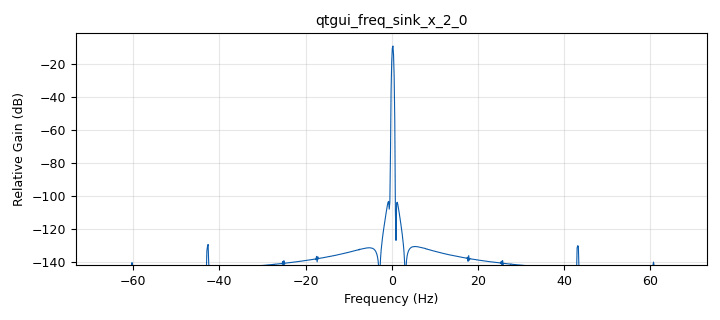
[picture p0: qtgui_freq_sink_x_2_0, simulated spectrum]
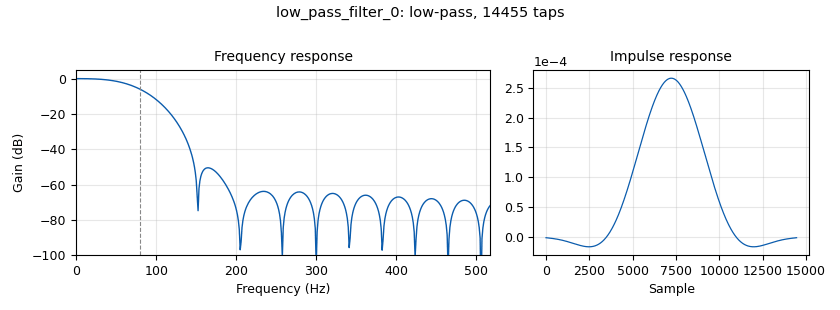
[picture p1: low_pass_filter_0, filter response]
options:
  parameters:
    category: Custom
    generate_options: qt_gui
    id: cw_radar_pluto_var
    output_language: python
  states: {}

blocks:
- name: addr
  id: variable
  parameters:
    value: '"192.168.3.1"'
  states: {}
- name: dec
  id: variable
  parameters:
    value: 1024*4
  states: {}
- name: fan_vel
  id: variable_qtgui_chooser
  parameters:
    label: velocity of fan
    label0: Vel 1
    label1: Vel 2
    label2: Vel 3
    num_opts: '3'
    option0: '1'
    option1: '2'
    option2: '3'
    type: int
    value: '3'
  states: {state: disabled}
- name: fan_vel
  id: variable
  parameters:
    value: '1'
  states: {}
- name: filename_lpf_n
  id: variable
  parameters:
    value: str(my_path)+"rx-freq-"+str(int(freq_op/1000000))+"-velocity-"+str(fan_vel)+"-bw-"+str(int(samp_rate/1000))+"-lpf-n"
  states: {}
- name: filename_lpf_y
  id: variable
  parameters:
    value: str(my_path)+"rx-freq-"+str(int(freq_op/1000000))+"-velocity-"+str(fan_vel)+"-bw-"+str(int(samp_rate/1000))+"-lpf-y"
  states: {}
- name: filename_tx
  id: variable
  parameters:
    value: str(my_path)+"tx-freq-"+str(int(freq_op/1000000))+"-velocity-"+str(fan_vel)+"-bw-"+str(int(samp_rate/1000))
  states: {}
- name: freq_op
  id: variable
  parameters:
    value: '1600000000'
  states: {}
- name: lpf_yn
  id: variable_qtgui_chooser
  parameters:
    label: low pass filter y/n
    label0: 'yes'
    label1: 'no'
    num_opts: '2'
    option0: y
    option1: n
    type: string
    value: y
  states: {state: disabled}
- name: my_path
  id: variable
  parameters:
    value: '"/home/rhlab/Downloads/files/"'
  states: {}
- name: samp_rate
  id: variable
  parameters:
    value: '600000'
  states: {}
- name: analog_agc_xx_0
  id: analog_agc_xx
  parameters:
    gain: '1.0'
    max_gain: '65536'
    rate: '1e-4'
    reference: '1.0'
    type: complex
  states: {}
- name: analog_agc_xx_0_0
  id: analog_agc_xx
  parameters:
    gain: '1.0'
    max_gain: '65536'
    rate: '1e-4'
    reference: '1.0'
    type: complex
  states: {}
- name: analog_sig_source_x_0
  id: analog_sig_source_x
  parameters:
    amp: '1'
    freq: '1000'
    offset: '0'
    phase: '0'
    samp_rate: samp_rate
    type: complex
    waveform: analog.GR_COS_WAVE
  states: {}
- name: blocks_file_sink_0
  id: blocks_file_sink
  parameters:
    file: str(filename_lpf_y)
    type: complex
  states: {}
- name: blocks_file_sink_0_0
  id: blocks_file_sink
  parameters:
    file: str(filename_lpf_n)
    type: complex
  states: {}
- name: blocks_file_sink_0_0_0
  id: blocks_file_sink
  parameters:
    file: str(filename_tx)
    type: complex
  states: {}
- name: blocks_multiply_conjugate_cc_0
  id: blocks_multiply_conjugate_cc
  parameters: {}
  states: {}
- name: iio_pluto_sink_0
  id: iio_pluto_sink
  parameters:
    attenuation1: '0'
    bandwidth: '1000000'
    buffer_size: '32768'
    cyclic: 'False'
    filter_source: '''Auto'''
    frequency: freq_op
    samplerate: samp_rate
    type: fc32
    uri: addr
  states: {}
- name: iio_pluto_source_0
  id: iio_pluto_source
  parameters:
    bandwidth: '1000000'
    bbdc: 'True'
    buffer_size: '32768'
    filter_source: '''Auto'''
    frequency: freq_op
    gain1: '''slow_attack'''
    quadrature: 'True'
    rfdc: 'True'
    samplerate: samp_rate
    type: fc32
    uri: addr
  states: {}
- name: low_pass_filter_0
  id: low_pass_filter
  parameters:
    cutoff_freq: '80'
    decim: dec
    gain: '1'
    samp_rate: samp_rate
    type: fir_filter_ccf
    width: '100'
    win: window.WIN_HAMMING
  states: {}
- name: qtgui_freq_sink_x_2
  id: qtgui_freq_sink_x
  parameters:
    autoscale: 'True'
    bw: samp_rate/dec
    fc: '0'
    fftsize: '1024'
    type: complex
  states: {}
- name: qtgui_freq_sink_x_2_0
  id: qtgui_freq_sink_x
  parameters:
    autoscale: 'True'
    bw: samp_rate/dec
    fc: '0'
    fftsize: '1024'
    type: complex
  states: {}
- name: qtgui_waterfall_sink_x_0
  id: qtgui_waterfall_sink_x
  parameters:
    bw: samp_rate/dec
    fc: '0'
    fftsize: '1024'
    type: complex
  states: {state: disabled}

connections:
- [analog_agc_xx_0, '0', blocks_multiply_conjugate_cc_0, '0']
- [analog_agc_xx_0_0, '0', blocks_multiply_conjugate_cc_0, '1']
- [analog_sig_source_x_0, '0', analog_agc_xx_0, '0']
- [analog_sig_source_x_0, '0', blocks_file_sink_0_0_0, '0']
- [analog_sig_source_x_0, '0', iio_pluto_sink_0, '0']
- [analog_sig_source_x_0, '0', qtgui_freq_sink_x_2_0, '0']
- [blocks_multiply_conjugate_cc_0, '0', blocks_file_sink_0_0, '0']
- [blocks_multiply_conjugate_cc_0, '0', low_pass_filter_0, '0']
- [iio_pluto_source_0, '0', analog_agc_xx_0_0, '0']
- [low_pass_filter_0, '0', blocks_file_sink_0, '0']
- [low_pass_filter_0, '0', qtgui_freq_sink_x_2, '0']
- [low_pass_filter_0, '0', qtgui_waterfall_sink_x_0, '0']

metadata:
  file_format: 1
